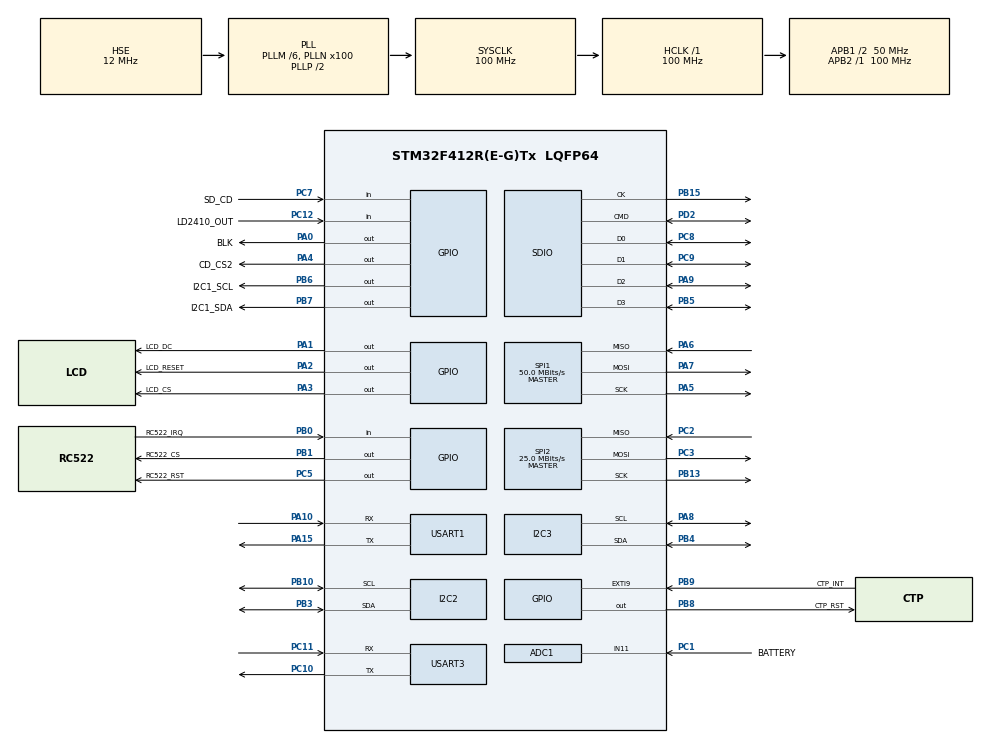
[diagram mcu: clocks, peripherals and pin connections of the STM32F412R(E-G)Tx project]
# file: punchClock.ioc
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ADC1.Channel-0\#ChannelRegularConversion=ADC_CHANNEL_11
ADC1.NbrOfConversionFlag=1
ADC1.Rank-0\#ChannelRegularConversion=1
ADC1.SamplingTime-0\#ChannelRegularConversion=ADC_SAMPLETIME_3CYCLES
ADC1.master=1
Dma.Request0=SPI1_TX
Dma.Request1=SDIO_RX
Dma.Request2=SDIO_TX
Dma.SDIO_RX.1.Direction=DMA_PERIPH_TO_MEMORY
Dma.SDIO_RX.1.FIFOMode=DMA_FIFOMODE_ENABLE
Dma.SDIO_RX.1.FIFOThreshold=DMA_FIFO_THRESHOLD_FULL
Dma.SDIO_RX.1.Instance=DMA2_Stream3
Dma.SDIO_RX.1.MemBurst=DMA_MBURST_INC4
Dma.SDIO_RX.1.MemDataAlignment=DMA_MDATAALIGN_WORD
Dma.SDIO_RX.1.MemInc=DMA_MINC_ENABLE
Dma.SDIO_RX.1.Mode=DMA_PFCTRL
Dma.SDIO_RX.1.PeriphBurst=DMA_PBURST_INC4
Dma.SDIO_RX.1.PeriphDataAlignment=DMA_PDATAALIGN_WORD
Dma.SDIO_RX.1.PeriphInc=DMA_PINC_DISABLE
Dma.SDIO_RX.1.Priority=DMA_PRIORITY_LOW
Dma.SDIO_TX.2.Direction=DMA_MEMORY_TO_PERIPH
Dma.SDIO_TX.2.FIFOMode=DMA_FIFOMODE_ENABLE
Dma.SDIO_TX.2.FIFOThreshold=DMA_FIFO_THRESHOLD_FULL
Dma.SDIO_TX.2.Instance=DMA2_Stream6
Dma.SDIO_TX.2.MemBurst=DMA_MBURST_INC4
Dma.SDIO_TX.2.MemDataAlignment=DMA_MDATAALIGN_WORD
Dma.SDIO_TX.2.MemInc=DMA_MINC_ENABLE
Dma.SDIO_TX.2.Mode=DMA_PFCTRL
Dma.SDIO_TX.2.PeriphBurst=DMA_PBURST_INC4
Dma.SDIO_TX.2.PeriphDataAlignment=DMA_PDATAALIGN_WORD
Dma.SDIO_TX.2.PeriphInc=DMA_PINC_DISABLE
Dma.SDIO_TX.2.Priority=DMA_PRIORITY_LOW
Dma.SPI1_TX.0.Direction=DMA_MEMORY_TO_PERIPH
Dma.SPI1_TX.0.FIFOMode=DMA_FIFOMODE_ENABLE
Dma.SPI1_TX.0.FIFOThreshold=DMA_FIFO_THRESHOLD_FULL
Dma.SPI1_TX.0.Instance=DMA2_Stream2
Dma.SPI1_TX.0.MemBurst=DMA_MBURST_SINGLE
Dma.SPI1_TX.0.MemDataAlignment=DMA_MDATAALIGN_BYTE
Dma.SPI1_TX.0.MemInc=DMA_MINC_ENABLE
Dma.SPI1_TX.0.Mode=DMA_NORMAL
Dma.SPI1_TX.0.PeriphBurst=DMA_PBURST_SINGLE
Dma.SPI1_TX.0.PeriphDataAlignment=DMA_PDATAALIGN_BYTE
Dma.SPI1_TX.0.PeriphInc=DMA_PINC_DISABLE
Dma.SPI1_TX.0.Priority=DMA_PRIORITY_HIGH
FATFS.BSP.number=1
FATFS._CODE_PAGE=936
FATFS._USE_LFN=2
FATFS0.BSP.STBoard=false
FATFS0.BSP.api=Unknown
FATFS0.BSP.instance=PC7
FATFS0.BSP.ip=GPIO
FATFS0.BSP.mode=Input
FATFS0.BSP.name=Detect_SDIO
FATFS0.BSP.solution=PC7
Mcu.Family=STM32F4
Mcu.Name=STM32F412R(E-G)Tx
Mcu.Package=LQFP64
NVIC.DMA2_Stream2_IRQn=true\:0\:0\:false\:false\:true\:false\:true\:true
NVIC.DMA2_Stream3_IRQn=true\:0\:0\:false\:false\:true\:false\:true\:true
NVIC.DMA2_Stream6_IRQn=true\:0\:0\:false\:false\:true\:false\:true\:true
NVIC.PriorityGroup=NVIC_PRIORITYGROUP_4
NVIC.SDIO_IRQn=true\:0\:0\:false\:false\:true\:true\:true\:true
NVIC.SPI1_IRQn=true\:0\:0\:false\:false\:true\:true\:true\:true
PA0.GPIO_Label=BLK
PA0.Signal=GPIO_Output
PA1.GPIO_Label=LCD_DC
PA1.GPIO_PuPd=GPIO_PULLUP
PA1.Signal=GPIO_Output
PA10.Mode=Asynchronous
PA10.Signal=USART1_RX
PA13.Mode=Serial_Wire
PA13.Signal=SYS_JTMS-SWDIO
PA14.Mode=Serial_Wire
PA14.Signal=SYS_JTCK-SWCLK
PA15.Mode=Asynchronous
PA15.Signal=USART1_TX
PA2.GPIO_Label=LCD_RESET
PA2.Signal=GPIO_Output
PA3.GPIO_Label=LCD_CS
PA3.Signal=GPIO_Output
PA4.GPIO_Label=CD_CS2
PA4.Signal=GPIO_Output
PA5.Mode=Full_Duplex_Master
PA5.Signal=SPI1_SCK
PA6.Mode=Full_Duplex_Master
PA6.Signal=SPI1_MISO
PA7.Mode=Full_Duplex_Master
PA7.Signal=SPI1_MOSI
PA8.Mode=I2C
PA8.Signal=I2C3_SCL
PA9.Mode=SD_4_bits_Wide_bus
PA9.Signal=SDIO_D2
PB0.GPIO_Label=RC522_IRQ
PB0.Signal=GPIO_Input
PB1.GPIO_Label=RC522_CS
PB1.Signal=GPIO_Output
PB10.Mode=I2C
PB10.Signal=I2C2_SCL
PB13.Mode=Full_Duplex_Master
PB13.Signal=SPI2_SCK
PB15.Mode=SD_4_bits_Wide_bus
PB15.Signal=SDIO_CK
PB3.Mode=I2C
PB3.Signal=I2C2_SDA
PB4.Mode=I2C
PB4.Signal=I2C3_SDA
PB5.Mode=SD_4_bits_Wide_bus
PB5.Signal=SDIO_D3
PB6.GPIO_Label=I2C1_SCL
PB6.GPIO_PuPd=GPIO_PULLUP
PB6.GPIO_Speed=GPIO_SPEED_FREQ_HIGH
PB6.Signal=GPIO_Output
PB7.GPIO_Label=I2C1_SDA
PB7.GPIO_PuPd=GPIO_PULLUP
PB7.GPIO_Speed=GPIO_SPEED_FREQ_HIGH
PB7.Signal=GPIO_Output
PB8.GPIO_Label=CTP_RST
PB8.GPIO_PuPd=GPIO_PULLUP
PB8.Signal=GPIO_Output
PB9.GPIO_Label=CTP_INT
PB9.Signal=GPXTI9
PC1.GPIO_Label=BATTERY
PC1.Signal=ADCx_IN11
PC10.Mode=Asynchronous
PC10.Signal=USART3_TX
PC11.Mode=Asynchronous
PC11.Signal=USART3_RX
PC12.GPIO_Label=LD2410_OUT
PC12.Signal=GPIO_Input
PC2.Mode=Full_Duplex_Master
PC2.Signal=SPI2_MISO
PC3.Mode=Full_Duplex_Master
PC3.Signal=SPI2_MOSI
PC5.GPIO_Label=RC522_RST
PC5.Signal=GPIO_Output
PC7.GPIO_Label=SD_CD
PC7.Signal=GPIO_Input
PC8.Mode=SD_4_bits_Wide_bus
PC8.Signal=SDIO_D0
PC9.Mode=SD_4_bits_Wide_bus
PC9.Signal=SDIO_D1
PD2.Mode=SD_4_bits_Wide_bus
PD2.Signal=SDIO_CMD
PH0\ -\ OSC_IN.Mode=HSE-External-Oscillator
PH0\ -\ OSC_IN.Signal=RCC_OSC_IN
PH1\ -\ OSC_OUT.Mode=HSE-External-Oscillator
PH1\ -\ OSC_OUT.Signal=RCC_OSC_OUT
ProjectManager.HeapSize=0x1200
ProjectManager.StackSize=0x1200
ProjectManager.TargetToolchain=STM32CubeIDE
RCC.AHBFreq_Value=100000000
RCC.APB1CLKDivider=RCC_HCLK_DIV2
RCC.APB1Freq_Value=50000000
RCC.APB1TimFreq_Value=100000000
RCC.APB2Freq_Value=100000000
RCC.APB2TimFreq_Value=100000000
RCC.CortexFreq_Value=100000000
RCC.HCLKFreq_Value=100000000
RCC.HSE_VALUE=12000000
RCC.PLLM=8
RCC.PLLN=100
RCC.PLLQ=4
RCC.SYSCLKFreq_VALUE=100000000
RCC.SYSCLKSource=RCC_SYSCLKSOURCE_PLLCLK
RCC.USBFreq_Value=50000000
RCC.VCOOutputFreq_Value=200000000
SDIO.ClockDiv=48
SH.ADCx_IN11.0=ADC1_IN11,IN11
SPI1.CalculateBaudRate=50.0 MBits/s
SPI1.Direction=SPI_DIRECTION_2LINES
SPI1.Mode=SPI_MODE_MASTER
SPI1.VirtualType=VM_MASTER
SPI2.CalculateBaudRate=25.0 MBits/s
SPI2.Direction=SPI_DIRECTION_2LINES
SPI2.Mode=SPI_MODE_MASTER
SPI2.VirtualType=VM_MASTER
USART1.VirtualMode=VM_ASYNC
USART3.VirtualMode=VM_ASYNC
VP_FATFS_VS_SDIO.Mode=SDIO
board=custom

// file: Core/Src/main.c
/* USER CODE BEGIN Header */
/**
 ******************************************************************************
 * @file           : main.c
 * @brief          : Main program body
 ******************************************************************************
 * @attention
 *
 * Copyright (c) 2025 STMicroelectronics.
 * All rights reserved.
 *
 * This software is licensed under terms that can be found in the LICENSE file
 * in the root directory of this software component.
 * If no LICENSE file comes with this software, it is provided AS-IS.
 *
 ******************************************************************************
 */
/* USER CODE END Header */
#include "main.h"
#include "RC522.h"
#include "adc.h"
#include "dma.h"
#include "fatfs.h"
#include "i2c.h"
#include "sdio.h"
#include "spi.h"
#include "stm32f4xx_hal.h"
#include "stm32f4xx_hal_def.h"
#include "stm32f4xx_hal_uart.h"
#include "usart.h"
#include "gpio.h"

/* USER CODE BEGIN Includes */
#include "function.h"
#include <stdint.h>
#include <stdio.h>
#include <stdlib.h>
#include <string.h>
#include "lvgl.h"
#include "lv_port_disp.h"
#include "lv_port_indev.h"
#include "touch.h"
#include "delay.h"
#include "lcd.h"
#include "gui_guider.h"
#include "events_init.h"

///rc
#include "dataStruct.h"
#include "function.h"
#include "hash.h"

////

/* USER CODE END Includes */

/* USER CODE BEGIN PTD */
EventQueue eventQueue = {0};
/* USER CODE END PTD */

/* USER CODE BEGIN PD */
#ifdef __GNUC__
#define PUTCHAR_PROTOTYPE int __io_putchar(int ch)
#else
#define PUTCHAR_PROTOTYPE int fputc(int ch, FILE *f)
#endif
PUTCHAR_PROTOTYPE
{
    // 阻塞方式打印 -> 串口1
    HAL_UART_Transmit(&huart1, (uint8_t *)&ch, 1, 0xFFFF);
    return ch;
}
/* USER CODE END PD */

/* USER CODE BEGIN PV */

///rc

/* USER CODE END PV */

void SystemClock_Config(void);
/* USER CODE BEGIN PFP */
lv_ui guider_ui;
/* USER CODE END PFP */

int main(void)
{

    /* MCU Configuration--------------------------------------------------------*/

    /* Reset of all peripherals, Initializes the Flash interface and the Systick. */
    HAL_Init();

    /* Configure the system clock */
    SystemClock_Config();

    /* Initialize all configured peripherals */
    MX_GPIO_Init();
    MX_DMA_Init();
    MX_ADC1_Init();
    MX_I2C2_Init();
    MX_I2C3_Init();
    MX_SDIO_SD_Init();
    MX_SPI1_Init();
    MX_SPI2_Init();
    MX_USART1_UART_Init();
    MX_USART3_UART_Init();
    MX_FATFS_Init();
    /* USER CODE BEGIN 2 */
    // char message[64];
    // srand(HAL_GetTick());
    // HAL_ADC_Start(&hadc1);
    // HAL_ADC_PollForConversion(&hadc1, HAL_MAX_DELAY);
    // totalInit();
    delay_init(100);
    LCD_Init();
    LCD_direction(3);
    TP_Init();
    lv_init();
    lv_port_disp_init();
    lv_port_indev_init();
    setup_ui(&guider_ui);
    events_init(&guider_ui);

    ////rc
    ds3231Init();
    RC522_Init();

    ////

    // Initialize the event queue

    // lv_demo_benchmark();
    /* USER CODE END 2 */

    /* Infinite loop */
    /* USER CODE BEGIN WHILE */
    HashTable *ht = createHashTable();//初始化hash
    if (ht == NULL) {
        return 1;
    }

    while (1) {
        // loop();
        lv_task_handler();

        uint64_t studentID =  RC522Scan() ;  //读卡成功，返回学生ID
        if(studentID)
        {
            if(search(ht,studentID)!=NULL)//存在学生studentID
            {
                HashNode* student = search(ht,studentID);
                if (student != NULL) {
                    uint64_t punchTime = get_current_time();
                    insertPunchRecord(ht, studentID, punchTime);
                    if (student->punchCount == 1) {
                        // 第一次打卡
                        //写入eeprom
                        //student->startTime

                    } else {
                        // 第二次打卡
                        //写入eeprom

                    }
                }
                else{//第二次打卡
                    //写入eeprom
                    uint64_t punchTime = get_current_time();
                    insertPunchRecord(ht, studentID, punchTime);
                    HashNode *newStudent = search(ht, studentID);
                    //把newStudent写入eeprom//

                }

            }
            else{//不存在此学生
                insertPunchRecord(ht,studentID, get_current_time());//添加该学生,并开始打卡
            }
        }

        /* USER CODE END WHILE */

    }
}

void SystemClock_Config(void)
{
    RCC_OscInitTypeDef RCC_OscInitStruct = {0};
    RCC_ClkInitTypeDef RCC_ClkInitStruct = {0};

    /** Configure the main internal regulator output voltage
     */
    __HAL_RCC_PWR_CLK_ENABLE();
    __HAL_PWR_VOLTAGESCALING_CONFIG(PWR_REGULATOR_VOLTAGE_SCALE1);

    /** Initializes the RCC Oscillators according to the specified parameters
     * in the RCC_OscInitTypeDef structure.
     */
    RCC_OscInitStruct.OscillatorType = RCC_OSCILLATORTYPE_HSE;
    RCC_OscInitStruct.HSEState       = RCC_HSE_ON;
    RCC_OscInitStruct.PLL.PLLState   = RCC_PLL_ON;
    RCC_OscInitStruct.PLL.PLLSource  = RCC_PLLSOURCE_HSE;
    RCC_OscInitStruct.PLL.PLLM       = 6;
    RCC_OscInitStruct.PLL.PLLN       = 100;
    RCC_OscInitStruct.PLL.PLLP       = RCC_PLLP_DIV2;
    RCC_OscInitStruct.PLL.PLLQ       = 4;
    RCC_OscInitStruct.PLL.PLLR       = 2;
    if (HAL_RCC_OscConfig(&RCC_OscInitStruct) != HAL_OK) {
        Error_Handler();
    }

    /** Initializes the CPU, AHB and APB buses clocks
     */
    RCC_ClkInitStruct.ClockType      = RCC_CLOCKTYPE_HCLK | RCC_CLOCKTYPE_SYSCLK | RCC_CLOCKTYPE_PCLK1 | RCC_CLOCKTYPE_PCLK2;
    RCC_ClkInitStruct.SYSCLKSource   = RCC_SYSCLKSOURCE_PLLCLK;
    RCC_ClkInitStruct.AHBCLKDivider  = RCC_SYSCLK_DIV1;
    RCC_ClkInitStruct.APB1CLKDivider = RCC_HCLK_DIV2;
    RCC_ClkInitStruct.APB2CLKDivider = RCC_HCLK_DIV1;

    if (HAL_RCC_ClockConfig(&RCC_ClkInitStruct, FLASH_LATENCY_3) != HAL_OK) {
        Error_Handler();
    }
}

void Error_Handler(void)
{
    __disable_irq();
    while (1) {
    }
}
